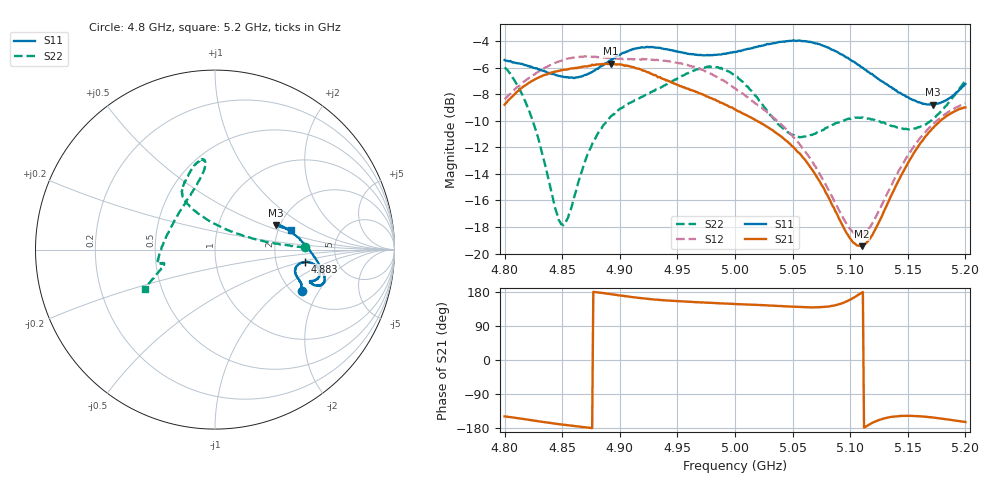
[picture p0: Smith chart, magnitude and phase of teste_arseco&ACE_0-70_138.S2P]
! Network Analyzer HP8722D
! Hewlett-Packard
! Data name: Linha & Wilkinson
! Saver's name: Rodrigo Anjos
! Comments: Teste da utilização de aquisição
! continua pelo VNA HP8722D
! Time and date: 8/5/2025 13:54
!  Frequency  S11  S21  S12  S22
# HZ  S  MA R 50
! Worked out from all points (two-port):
!   401 points, 4.8 GHz to 5.2 GHz, reference 50 ohm
!   highest |S21| = -5.69 dB at 4.892 GHz (marker M1); lowest = -19.4 dB at 5.11 GHz (marker M2)
!   |S21| within 3 dB of the highest: 4.801 GHz to 4.99 GHz (188.9 MHz wide, 3.86 % of centre)
!   lowest |S11| = -8.8 dB at 5.172 GHz (marker M3), VSWR 2.15, Z = 94.8 + j29.9 ohm
!   |S11| at or under -10 dB: nowhere
!   |S22| runs from -17.9 to -5.9 dB; largest |S21 - S12| = 1.1
!   S11 on the Smith chart (normalised r, x): 4.8 GHz: 2.23, -1.44; 4.883 GHz: 2.94, -0.55; 5.2 GHz: 2.34, +0.64
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4.8e9  0.536 -25.5  0.364 -149.0  0.3823 10.5  0.5031 1.4
4.812e9  0.521 -22.4  0.411 -153.7  0.4276 8.7  0.4239 2.7
4.823e9  0.5067 -20.7  0.4455 -158.8  0.4644 7.2  0.3293 6.2
4.849e9  0.4649 -16.2  0.4911 -170.1  0.5332 3.1  0.1291 58.7
4.855e9  0.4619 -14.3  0.4948 -172.4  0.5432 1.9  0.1363 84.7
4.867e9  0.4655 -11.0  0.5054 -176.8  0.552 0.3  0.2036 112.1
4.883e9  0.5065 -7.9  0.5164 177.5  0.5488 -0.9  0.2922 120.8
4.892e9  0.5328 -7.6  0.5196 173.9  0.5446 -0.9  0.3277 121.9
4.913e9  0.5923 -11.2  0.5008 165.1  0.5405 -0.6  0.3789 119.0
4.934e9  0.5959 -15.7  0.4627 158.5  0.5364 -1.5  0.4189 112.9
4.974e9  0.558 -18.6  0.3941 151.6  0.486 -5.3  0.5019 99.4
5e9  0.5744 -19.5  0.3495 147.7  0.4192 -5.1  0.4695 96.6
5.015e9  0.5941 -19.7  0.3234 145.9  0.3754 -3.2  0.4059 101.7
5.044e9  0.6313 -17.6  0.2673 141.5  0.2951 3.0  0.2908 131.2
5.067e9  0.6242 -13.4  0.207 139.0  0.2224 9.4  0.2802 164.5
5.098e9  0.5465 -2.9  0.1176 156.3  0.1273 37.1  0.322 -170.3
5.11e9  0.5036 2.6  0.1066 177.7  0.1173 61.0  0.3254 -167.2
5.119e9  0.4752 7.5  0.117 -166.1  0.1295 78.0  0.3207 -166.0
5.134e9  0.4267 14.7  0.1596 -151.1  0.1745 94.7  0.3067 -165.6
5.153e9  0.3819 20.7  0.23 -147.5  0.2451 101.4  0.2951 -164.1
5.172e9  0.3641 22.0  0.2975 -151.8  0.3079 102.5  0.3221 -159.9
5.2e9  0.4359 14.7  0.3554 -163.7  0.3683 102.9  0.4473 -150.6
